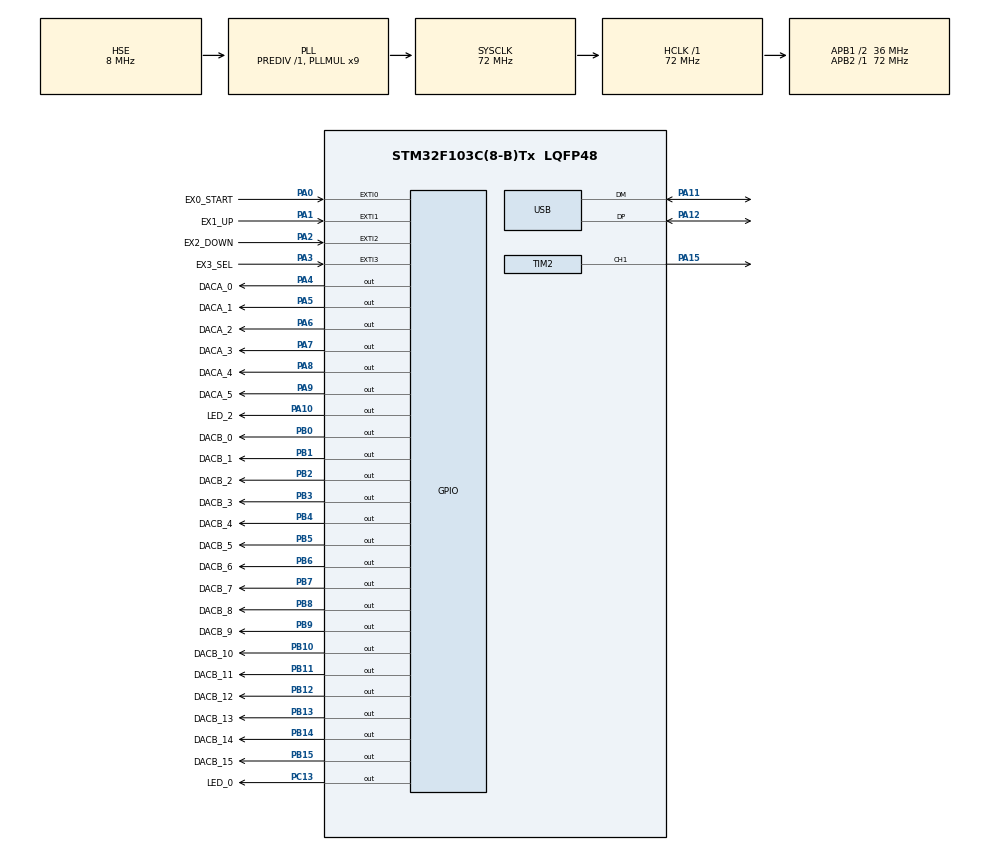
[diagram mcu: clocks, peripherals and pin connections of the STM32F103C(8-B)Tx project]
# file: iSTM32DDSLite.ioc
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Mcu.Family=STM32F1
PA2.GPIO_PuPd=GPIO_PULLDOWN
PB10.PinState=GPIO_PIN_SET
USB_DEVICE.CLASS_NAME_FS=CDC
NVIC.DMA1_Channel5_IRQn=true\:0\:0\:false\:false\:true\:false\:true
PB10.GPIO_Speed=GPIO_SPEED_FREQ_HIGH
USB_DEVICE.PID_CDC_FS=0xDD83
PB14.GPIO_Label=DACB_14
PA3.GPIO_PuPd=GPIO_PULLDOWN
PB2.GPIO_Speed=GPIO_SPEED_FREQ_HIGH
NVIC.EXTI3_IRQn=true\:0\:0\:false\:false\:true\:true\:true
PA11.Mode=Device
PA6.GPIO_Label=DACA_2
PB0.GPIO_Label=DACB_0
PB6.GPIO_Label=DACB_6
Dma.TIM1_UP.0.Mode=DMA_CIRCULAR
PB13.GPIO_Label=DACB_13
PB11.Signal=GPIO_Output
PB13.Signal=GPIO_Output
PB15.Signal=GPIO_Output
PA5.PinState=GPIO_PIN_SET
PB15.PinState=GPIO_PIN_RESET
PB3.GPIO_Speed=GPIO_SPEED_FREQ_HIGH
RCC.SYSCLKSource=RCC_SYSCLKSOURCE_PLLCLK
ProjectManager.StackSize=0x400
PD1-OSC_OUT.Signal=RCC_OSC_OUT
PB11.GPIO_Speed=GPIO_SPEED_FREQ_HIGH
USB_DEVICE.MANUFACTURER_STRING=www.stm32dds.tk
Dma.TIM1_UP.0.MemInc=DMA_MINC_ENABLE
NVIC.EXTI1_IRQn=true\:0\:0\:false\:false\:true\:true\:true
PA12.Signal=USB_DP
PA7.PinState=GPIO_PIN_SET
PB0.PinState=GPIO_PIN_SET
PB3.PinState=GPIO_PIN_SET
RCC.HCLKFreq_Value=72000000
RCC.APB2TimFreq_Value=72000000
PB6.Signal=GPIO_Output
PB5.PinState=GPIO_PIN_SET
PB12.PinState=GPIO_PIN_SET
PA1.GPIO_PuPd=GPIO_PULLDOWN
RCC.AHBFreq_Value=72000000
PB2.Signal=GPIO_Output
RCC.RTCClockSelection=RCC_RTCCLKSOURCE_HSE_DIV128
RCC.PLLMUL=RCC_PLL_MUL9
PB12.GPIO_Label=DACB_12
USB_DEVICE.USBD_SELF_POWERED=0
PC13-TAMPER-RTC.PinState=GPIO_PIN_RESET
PB1.GPIO_Speed=GPIO_SPEED_FREQ_HIGH
PA14.Mode=Serial_Wire
PB1.GPIO_Label=DACB_1
PA10.GPIO_Label=LED_2
PB8.PinState=GPIO_PIN_SET
PB7.Signal=GPIO_Output
PA8.Signal=GPIO_Output
TIM2.Channel-PWM\ Generation1\ CH1=TIM_CHANNEL_1
VP_TIM1_VS_ClockSourceINT.Mode=Internal
PB7.PinState=GPIO_PIN_SET
PB1.PinState=GPIO_PIN_SET
PB7.GPIO_Label=DACB_7
Mcu.Package=LQFP48
PB9.Signal=GPIO_Output
TIM2.Prescaler=9999
PB1.Signal=GPIO_Output
PA6.Signal=GPIO_Output
Dma.TIM1_UP.0.Direction=DMA_MEMORY_TO_PERIPH
PA2.GPIO_Label=EX2_DOWN
PA10.Signal=GPIO_Output
PA15.Signal=S_TIM2_CH1_ETR
PB11.PinState=GPIO_PIN_SET
PB5.GPIO_Speed=GPIO_SPEED_FREQ_HIGH
PB9.GPIO_Speed=GPIO_SPEED_FREQ_HIGH
PB5.GPIO_Label=DACB_5
NVIC.EXTI2_IRQn=true\:0\:0\:false\:false\:true\:true\:true
RCC.APB1TimFreq_Value=72000000
Dma.Request0=TIM1_UP
PB4.PinState=GPIO_PIN_SET
PA4.GPIO_Label=DACA_0
PA1.GPIO_ModeDefaultEXTI=GPIO_MODE_IT_FALLING
PA8.PinState=GPIO_PIN_SET
PB4.Signal=GPIO_Output
USB_DEVICE.USBD_DEBUG_LEVEL=3
PA3.Signal=GPXTI3
PB7.GPIO_Speed=GPIO_SPEED_FREQ_HIGH
PB3.GPIO_Label=DACB_3
RCC.PLLSourceVirtual=RCC_PLLSOURCE_HSE
PD1-OSC_OUT.Mode=HSE-External-Oscillator
PB9.GPIO_Label=DACB_9
USB_DEVICE.VirtualModeFS=Cdc_FS
PA9.GPIO_Label=DACA_5
PB11.GPIO_Label=DACB_11
PC13-TAMPER-RTC.Signal=GPIO_Output
RCC.USBPrescaler=RCC_USBCLKSOURCE_PLL_DIV1_5
PA6.PinState=GPIO_PIN_SET
PD0-OSC_IN.Signal=RCC_OSC_IN
RCC.APB1CLKDivider=RCC_HCLK_DIV2
PA0-WKUP.GPIO_ModeDefaultEXTI=GPIO_MODE_IT_FALLING
PA0-WKUP.GPIO_Label=EX0_START
PA0-WKUP.Signal=GPXTI0
TIM2.Pulse-PWM\ Generation1\ CH1=4000
PA3.GPIO_ModeDefaultEXTI=GPIO_MODE_IT_FALLING
PB0.GPIO_Speed=GPIO_SPEED_FREQ_HIGH
PA13.Signal=SYS_JTMS-SWDIO
Dma.TIM1_UP.0.PeriphDataAlignment=DMA_PDATAALIGN_HALFWORD
PB8.GPIO_Label=DACB_8
PA8.GPIO_Label=DACA_4
PB14.PinState=GPIO_PIN_SET
PA4.PinState=GPIO_PIN_SET
USB_DEVICE.VID=0x1209
ProjectManager.TargetToolchain=STM32CubeIDE
PB14.GPIO_Speed=GPIO_SPEED_FREQ_HIGH
PB10.GPIO_Label=DACB_10
PA10.GPIO_ModeDefaultOutputPP=GPIO_MODE_OUTPUT_OD
VP_USB_DEVICE_VS_USB_DEVICE_CDC_FS.Mode=CDC_FS
PA9.Signal=GPIO_Output
PB13.GPIO_Speed=GPIO_SPEED_FREQ_HIGH
Dma.TIM1_UP.0.Priority=DMA_PRIORITY_VERY_HIGH
RCC.USBFreq_Value=48000000
PA1.Signal=GPXTI1
PB12.GPIO_Speed=GPIO_SPEED_FREQ_HIGH
PD0-OSC_IN.Mode=HSE-External-Oscillator
PB10.Signal=GPIO_Output
PB14.Signal=GPIO_Output
PA5.Signal=GPIO_Output
board=custom
PC13-TAMPER-RTC.GPIO_Label=LED_0
Dma.TIM1_UP.0.Instance=DMA1_Channel5
PB4.GPIO_Speed=GPIO_SPEED_FREQ_HIGH
RCC.APB2Freq_Value=72000000
PB13.PinState=GPIO_PIN_SET
PB4.GPIO_Label=DACB_4
PB15.GPIO_Label=DACB_15
VP_TIM2_VS_ClockSourceINT.Mode=Internal
PB15.GPIO_Speed=GPIO_SPEED_FREQ_HIGH
NVIC.USB_LP_CAN1_RX0_IRQn=true\:0\:0\:false\:false\:true\:false\:true
PA1.GPIO_Label=EX1_UP
TIM2.Period=7199
PA13.Mode=Serial_Wire
Mcu.Name=STM32F103C(8-B)Tx
PB2.PinState=GPIO_PIN_SET
Dma.TIM1_UP.0.PeriphInc=DMA_PINC_DISABLE
PA2.Signal=GPXTI2
PB3.Signal=GPIO_Output
NVIC.EXTI0_IRQn=true\:0\:0\:false\:false\:true\:true\:true
PA4.Signal=GPIO_Output
RCC.SYSCLKFreq_VALUE=72000000
PC13-TAMPER-RTC.GPIO_ModeDefaultOutputPP=GPIO_MODE_OUTPUT_OD
PB5.Signal=GPIO_Output
PA7.GPIO_Label=DACA_3
PA12.Mode=Device
PA5.GPIO_Label=DACA_1
PB6.PinState=GPIO_PIN_SET
PB9.PinState=GPIO_PIN_SET
PA11.Signal=USB_DM
SH.S_TIM2_CH1_ETR.0=TIM2_CH1,PWM Generation1 CH1
USB_DEVICE.APP_TX_DATA_SIZE=1000
PA14.Signal=SYS_JTCK-SWCLK
PB2.GPIO_Label=DACB_2
ProjectManager.HeapSize=0x200
Dma.TIM1_UP.0.MemDataAlignment=DMA_MDATAALIGN_HALFWORD
PA2.GPIO_ModeDefaultEXTI=GPIO_MODE_IT_FALLING
NVIC.PriorityGroup=NVIC_PRIORITYGROUP_4
USB_DEVICE.APP_RX_DATA_SIZE=1000
PB8.Signal=GPIO_Output
PA0-WKUP.GPIO_PuPd=GPIO_PULLDOWN
PB6.GPIO_Speed=GPIO_SPEED_FREQ_HIGH
RCC.APB1Freq_Value=36000000
PB8.GPIO_Speed=GPIO_SPEED_FREQ_HIGH
PB0.Signal=GPIO_Output
USB_DEVICE.VirtualMode=Cdc
PB12.Signal=GPIO_Output
PA3.GPIO_Label=EX3_SEL
PA7.Signal=GPIO_Output

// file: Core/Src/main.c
/* USER CODE BEGIN Header */
/**
  ******************************************************************************
  * @file           : main.c
  * @brief          : Main program body
  ******************************************************************************
  * @attention
  *
  * <h2><center>&copy; Copyright (c) 2020 STMicroelectronics.
  * All rights reserved.</center></h2>
  *
  * This software component is licensed by ST under Ultimate Liberty license
  * SLA0044, the "License"; You may not use this file except in compliance with
  * the License. You may obtain a copy of the License at:
  *                             www.st.com/SLA0044
  *
  ******************************************************************************
  */
/* USER CODE END Header */
#include "main.h"
#include "usb_device.h"

/* USER CODE BEGIN Includes */
#include "usbd_cdc_if.h"
/* USER CODE END Includes */

TIM_HandleTypeDef htim1;
TIM_HandleTypeDef htim2;
DMA_HandleTypeDef hdma_tim1_up;

/* USER CODE BEGIN PV */
//extern uint8_t buffer[];
//extern uint32_t NewDataFromUsb;//0-no new data, <>0 new data, value=New Data lenght
//extern uint8_t UserRxBufferFS[APP_RX_DATA_SIZE]; //Data that comes from USB
extern uint16_t aOutputWave [BUFFER_SIZE];
extern uint8_t retWave;
extern uint8_t aConfig[8];//array for configuration data
uint16_t uFrqSP; // set point for Frequency
uint16_t VppSP; // set point for Amplitude
uint8_t uOffsSP; // set point for Offset
uint8_t uPwmSP=50; // set point for PWM on SQUARE Wave
enum SamplesPerWave  {SPW360, SPW180, SPW90, SPW45, SPW24}; // Samples per wave
enum AmpPower { x2_0, x1_5, x1_0, x0_5 }; // Amplification
enum SamplesPerWave eSPW = SPW360;
enum AmpPower eAmpPow;

/*static const uint16_t aSRC_Const_Buffer[BUFFER_SIZE] =
{
  0x0102, 0x0304, 0x0506, 0x0708, 0x090A, 0x0B0C, 0x0D0E, 0x0F10,
  0x1112, 0x1314, 0x1516, 0x1718, 0x191A, 0x1B1C, 0x1D1E, 0x1F20,
  0x2122, 0x2324, 0x2526, 0x2728, 0x292A, 0x2B2C, 0x2D2E, 0x2F30,
  0x3132, 0x3334, 0x3536, 0x3738, 0x393A, 0x3B3C, 0x3D3E, 0x3F40,
  0x4142, 0x4344, 0x4546, 0x4748, 0x494A, 0x4B4C, 0x4D4E, 0x4F50,
  0x5152, 0x5354, 0x5556, 0x5758, 0x595A, 0x5B5C, 0x5D5E, 0x5F60,
  0x6162, 0x6364, 0x6566, 0x6768, 0x696A, 0x6B6C, 0x6D6E, 0x6F70,
  0x7172, 0x7374, 0x7576, 0x7778, 0x797A, 0x7B7C, 0x7D7E, 0x7F80
};*/
/* USER CODE END PV */

void SystemClock_Config(void);
static void MX_GPIO_Init(void);
static void MX_DMA_Init(void);
static void MX_TIM1_Init(void);
static void MX_TIM2_Init(void);
/* USER CODE BEGIN PFP */
static void TransferComplete(DMA_HandleTypeDef *hdma_tim6_up);
static void TransferError(DMA_HandleTypeDef *hdma_tim6_up);
/* USER CODE END PFP */

int main(void)
{

  /* MCU Configuration--------------------------------------------------------*/

  /* Reset of all peripherals, Initializes the Flash interface and the Systick. */
  HAL_Init();

  /* Configure the system clock */
  SystemClock_Config();

  /* Initialize all configured peripherals */
  MX_GPIO_Init();
  MX_TIM1_Init();
  MX_TIM2_Init();
  MX_DMA_Init();
  MX_USB_DEVICE_Init();
  /* USER CODE BEGIN 2 */
  /*Square wave generation and put it into aOutputWave */
  // as default wave on power up
  for (int i = 0; i < BUFFER_SIZE; ++i)
  {
	  if (i < BUFFER_SIZE/2) aOutputWave[i]=0;
	  else aOutputWave[i]=0xFFFF;
  }
// Hardware LED1 flash, to not use SYS_CLK in future
  HAL_TIM_PWM_Start(&htim2, TIM_CHANNEL_1);
  /* USER CODE END 2 */

  /* Infinite loop */
  /* USER CODE BEGIN WHILE */
  while (1)
  {
	  HAL_GPIO_TogglePin(GPIOC, GPIO_PIN_13);
	  HAL_Delay(500);
	  //  uint8_t HiMsg[] = "hello\r\n";
	    if(retWave==1)
	    {
	    	// b[i] = (a[j] << 8) | a[j + 1];
	        // set point for Frequency
	    	uFrqSP = (aConfig[0] << 8) | aConfig[1];
	        // set point for Amplitude
	    	VppSP = (aConfig[2] << 8) | aConfig[3];
	        // set point for Offset
	    	uOffsSP = aConfig[4];
	        // set point for PWM on SQUARE Wave
	    	uPwmSP = aConfig[5];
	        // Samples per wave
	    	if (eSPW != aConfig[6])
	    	{
	    		uint32_t BufLnght;
	    		HAL_DMA_Abort_IT(htim1.hdma[TIM_DMA_ID_UPDATE]);
	    		eSPW = aConfig[6];
	    		if (eSPW == SPW360) BufLnght = 360;

	    		if (eSPW == SPW180)
	    		{
	    			for(int i =0;i<180; ++i)
	    				aOutputWave[i] = aOutputWave[2*i];
	    			BufLnght = 180;
	    		}

	    		if (eSPW == SPW90)
	    		{
	    			 for(int i =0;i<90; ++i)
	    			    aOutputWave[i] = aOutputWave[4*i];
	    			 BufLnght = 90;
	    		}

	    		if (eSPW == SPW45)
	    		{
	    			 for(int i =0;i<45; ++i)
	    			    aOutputWave[i] = aOutputWave[8*i];
	    			 BufLnght = 45;
	    		}

	    		if (eSPW == SPW24)
	    		{
	    			 for(int i =0;i<24; ++i)
	    			    aOutputWave[i] = aOutputWave[15*i];
	    			 BufLnght = 24;
	    		}

	    		HAL_DMA_Start_IT(htim1.hdma[TIM_DMA_ID_UPDATE],(uint32_t)&aOutputWave,
	    		  		(uint32_t)&GPIOB->ODR, BufLnght);

	    	}
	        // Amplification
	    	eAmpPow = aConfig[7];

	    	TIM1->ARR = uFrqSP;
	    	//htim1.Init.Period = uFrqSP;
//	    	CDC_Transmit_FS(HiMsg, sizeof(HiMsg));
	    	CDC_Transmit_FS((uint8_t*)aOutputWave, 720);
	    	retWave =0;
	    }
    /* USER CODE END WHILE */

    /* USER CODE BEGIN 3 */

	  HAL_Delay(1000);
  }
  /* USER CODE END 3 */
}

void SystemClock_Config(void)
{
  RCC_OscInitTypeDef RCC_OscInitStruct = {0};
  RCC_ClkInitTypeDef RCC_ClkInitStruct = {0};
  RCC_PeriphCLKInitTypeDef PeriphClkInit = {0};

  /** Initializes the RCC Oscillators according to the specified parameters
  * in the RCC_OscInitTypeDef structure.
  */
  RCC_OscInitStruct.OscillatorType = RCC_OSCILLATORTYPE_HSE;
  RCC_OscInitStruct.HSEState = RCC_HSE_ON;
  RCC_OscInitStruct.HSEPredivValue = RCC_HSE_PREDIV_DIV1;
  RCC_OscInitStruct.HSIState = RCC_HSI_ON;
  RCC_OscInitStruct.PLL.PLLState = RCC_PLL_ON;
  RCC_OscInitStruct.PLL.PLLSource = RCC_PLLSOURCE_HSE;
  RCC_OscInitStruct.PLL.PLLMUL = RCC_PLL_MUL9;
  if (HAL_RCC_OscConfig(&RCC_OscInitStruct) != HAL_OK)
  {
    Error_Handler();
  }
  /** Initializes the CPU, AHB and APB buses clocks
  */
  RCC_ClkInitStruct.ClockType = RCC_CLOCKTYPE_HCLK|RCC_CLOCKTYPE_SYSCLK
                              |RCC_CLOCKTYPE_PCLK1|RCC_CLOCKTYPE_PCLK2;
  RCC_ClkInitStruct.SYSCLKSource = RCC_SYSCLKSOURCE_PLLCLK;
  RCC_ClkInitStruct.AHBCLKDivider = RCC_SYSCLK_DIV1;
  RCC_ClkInitStruct.APB1CLKDivider = RCC_HCLK_DIV2;
  RCC_ClkInitStruct.APB2CLKDivider = RCC_HCLK_DIV1;

  if (HAL_RCC_ClockConfig(&RCC_ClkInitStruct, FLASH_LATENCY_2) != HAL_OK)
  {
    Error_Handler();
  }
  PeriphClkInit.PeriphClockSelection = RCC_PERIPHCLK_USB;
  PeriphClkInit.UsbClockSelection = RCC_USBCLKSOURCE_PLL_DIV1_5;
  if (HAL_RCCEx_PeriphCLKConfig(&PeriphClkInit) != HAL_OK)
  {
    Error_Handler();
  }
}

static void MX_TIM1_Init(void)
{

  TIM_ClockConfigTypeDef sClockSourceConfig = {0};
  TIM_MasterConfigTypeDef sMasterConfig = {0};

  /* USER CODE BEGIN TIM1_Init 1 */
	__HAL_RCC_TIM1_CLK_ENABLE();
  /* USER CODE END TIM1_Init 1 */
  htim1.Instance = TIM1;
  htim1.Init.Prescaler = 0; // 1000;
  htim1.Init.CounterMode = TIM_COUNTERMODE_UP;
  htim1.Init.Period = 100; //7-65535;
  htim1.Init.ClockDivision = TIM_CLOCKDIVISION_DIV1;
  htim1.Init.RepetitionCounter = 0;
  htim1.Init.AutoReloadPreload = TIM_AUTORELOAD_PRELOAD_DISABLE;
  if (HAL_TIM_Base_Init(&htim1) != HAL_OK)
  {
    Error_Handler();
  }
  sClockSourceConfig.ClockSource = TIM_CLOCKSOURCE_INTERNAL;
  if (HAL_TIM_ConfigClockSource(&htim1, &sClockSourceConfig) != HAL_OK)
  {
    Error_Handler();
  }
  sMasterConfig.MasterOutputTrigger = TIM_TRGO_RESET;
  sMasterConfig.MasterSlaveMode = TIM_MASTERSLAVEMODE_DISABLE;
  if (HAL_TIMEx_MasterConfigSynchronization(&htim1, &sMasterConfig) != HAL_OK)
  {
    Error_Handler();
  }

}

static void MX_TIM2_Init(void)
{

  TIM_ClockConfigTypeDef sClockSourceConfig = {0};
  TIM_MasterConfigTypeDef sMasterConfig = {0};
  TIM_OC_InitTypeDef sConfigOC = {0};

  htim2.Instance = TIM2;
  htim2.Init.Prescaler = 9999;
  htim2.Init.CounterMode = TIM_COUNTERMODE_UP;
  htim2.Init.Period = 3600;//7199;
  htim2.Init.ClockDivision = TIM_CLOCKDIVISION_DIV1;
  htim2.Init.AutoReloadPreload = TIM_AUTORELOAD_PRELOAD_DISABLE;
  if (HAL_TIM_Base_Init(&htim2) != HAL_OK)
  {
    Error_Handler();
  }
  sClockSourceConfig.ClockSource = TIM_CLOCKSOURCE_INTERNAL;
  if (HAL_TIM_ConfigClockSource(&htim2, &sClockSourceConfig) != HAL_OK)
  {
    Error_Handler();
  }
  if (HAL_TIM_PWM_Init(&htim2) != HAL_OK)
  {
    Error_Handler();
  }
  sMasterConfig.MasterOutputTrigger = TIM_TRGO_RESET;
  sMasterConfig.MasterSlaveMode = TIM_MASTERSLAVEMODE_DISABLE;
  if (HAL_TIMEx_MasterConfigSynchronization(&htim2, &sMasterConfig) != HAL_OK)
  {
    Error_Handler();
  }
  sConfigOC.OCMode = TIM_OCMODE_PWM1;
  sConfigOC.Pulse =1800;// 4000;
  sConfigOC.OCPolarity = TIM_OCPOLARITY_HIGH;
  sConfigOC.OCFastMode = TIM_OCFAST_DISABLE;
  if (HAL_TIM_PWM_ConfigChannel(&htim2, &sConfigOC, TIM_CHANNEL_1) != HAL_OK)
  {
    Error_Handler();
  }
  HAL_TIM_MspPostInit(&htim2);

}

static void MX_DMA_Init(void)
{

  /* DMA controller clock enable */
  __HAL_RCC_DMA1_CLK_ENABLE();
  /* DMA configuration */
  hdma_tim1_up.Instance = DMA1_Channel5;
  hdma_tim1_up.Init.Direction = DMA_MEMORY_TO_PERIPH;
  hdma_tim1_up.Init.PeriphInc = DMA_PINC_DISABLE;
  hdma_tim1_up.Init.MemInc = DMA_MINC_ENABLE;
  hdma_tim1_up.Init.PeriphDataAlignment = DMA_PDATAALIGN_HALFWORD; // 16 bits
  hdma_tim1_up.Init.MemDataAlignment = DMA_MDATAALIGN_HALFWORD;
  hdma_tim1_up.Init.Mode = DMA_CIRCULAR;//DMA_NORMAL;
  hdma_tim1_up.Init.Priority = DMA_PRIORITY_LOW;
  HAL_DMA_Init(&hdma_tim1_up);
//  __HAL_DMA1_REMAP(HAL_DMA1_CH3_TIM6_UP);
  __HAL_LINKDMA(&htim1,hdma[TIM_DMA_ID_UPDATE],hdma_tim1_up);
  /* DMA interrupt init */
  /* DMA1_Channel5_IRQn interrupt configuration */
  HAL_NVIC_SetPriority(DMA1_Channel5_IRQn, 0, 0);
  HAL_NVIC_EnableIRQ(DMA1_Channel5_IRQn);
  /* Select Callbacks functions called after Transfer complete and Transfer error */
  HAL_DMA_RegisterCallback(&hdma_tim1_up, HAL_DMA_XFER_CPLT_CB_ID, TransferComplete);
  HAL_DMA_RegisterCallback(&hdma_tim1_up, HAL_DMA_XFER_ERROR_CB_ID, TransferError);
  /* (Callbacks for DMA IRQs) */
//  htim1->hdma[TIM_DMA_ID_UPDATE]->XferCpltCallback = data_tramsmitted_handler;
//  htim1->hdma[TIM_DMA_ID_UPDATE]->XferErrorCallback = transmit_error_handler;
  /*  (Enable DMA) */
  HAL_DMA_Start_IT(htim1.hdma[TIM_DMA_ID_UPDATE],(uint32_t)&aOutputWave,
  		(uint32_t)&GPIOB->ODR, BUFFER_SIZE);
  /*  (Enable TIM for DMA events) */
  __HAL_TIM_ENABLE_DMA(&htim1, TIM_DMA_UPDATE);

  /*  (Run TIM) */
  __HAL_TIM_ENABLE(&htim1);
  __HAL_RCC_TIM1_CLK_DISABLE();//stop clocking interrupt timer
}

static void MX_GPIO_Init(void)
{
  GPIO_InitTypeDef GPIO_InitStruct = {0};

  /* GPIO Ports Clock Enable */
  __HAL_RCC_GPIOC_CLK_ENABLE();
  __HAL_RCC_GPIOD_CLK_ENABLE();
  __HAL_RCC_GPIOA_CLK_ENABLE();
  __HAL_RCC_GPIOB_CLK_ENABLE();

  /*Configure GPIO pin Output Level */
  HAL_GPIO_WritePin(LED_0_GPIO_Port, LED_0_Pin, GPIO_PIN_RESET);

  /*Configure GPIO pin Output Level */
  HAL_GPIO_WritePin(GPIOA, DACA_0_Pin|DACA_1_Pin|DACA_2_Pin|DACA_3_Pin
                          |DACA_4_Pin, GPIO_PIN_SET);

  /*Configure GPIO pin Output Level */
  HAL_GPIO_WritePin(GPIOB, DACB_0_Pin|DACB_1_Pin|DACB_2_Pin|DACB_10_Pin
                          |DACB_11_Pin|DACB_12_Pin|DACB_13_Pin|DACB_14_Pin
                          |DACB_3_Pin|DACB_4_Pin|DACB_5_Pin|DACB_6_Pin
                          |DACB_7_Pin|DACB_8_Pin|DACB_9_Pin, GPIO_PIN_SET);

  /*Configure GPIO pin Output Level */
  HAL_GPIO_WritePin(DACB_15_GPIO_Port, DACB_15_Pin, GPIO_PIN_RESET);

  /*Configure GPIO pin Output Level */
  HAL_GPIO_WritePin(GPIOA, DACA_5_Pin|LED_2_Pin, GPIO_PIN_RESET);

  /*Configure GPIO pin : LED_0_Pin */
  GPIO_InitStruct.Pin = LED_0_Pin;
  GPIO_InitStruct.Mode = GPIO_MODE_OUTPUT_OD;
  GPIO_InitStruct.Pull = GPIO_NOPULL;
  GPIO_InitStruct.Speed = GPIO_SPEED_FREQ_LOW;
  HAL_GPIO_Init(LED_0_GPIO_Port, &GPIO_InitStruct);

  /*Configure GPIO pins : EX0_START_Pin EX1_UP_Pin EX2_DOWN_Pin EX3_SEL_Pin */
  GPIO_InitStruct.Pin = EX0_START_Pin|EX1_UP_Pin|EX2_DOWN_Pin|EX3_SEL_Pin;
  GPIO_InitStruct.Mode = GPIO_MODE_IT_FALLING;
  GPIO_InitStruct.Pull = GPIO_PULLDOWN;
  HAL_GPIO_Init(GPIOA, &GPIO_InitStruct);

  /*Configure GPIO pins : DACA_0_Pin DACA_1_Pin DACA_2_Pin DACA_3_Pin
                           DACA_4_Pin DACA_5_Pin */
  GPIO_InitStruct.Pin = DACA_0_Pin|DACA_1_Pin|DACA_2_Pin|DACA_3_Pin
                          |DACA_4_Pin|DACA_5_Pin;
  GPIO_InitStruct.Mode = GPIO_MODE_OUTPUT_PP;
  GPIO_InitStruct.Pull = GPIO_NOPULL;
  GPIO_InitStruct.Speed = GPIO_SPEED_FREQ_LOW;
  HAL_GPIO_Init(GPIOA, &GPIO_InitStruct);

  /*Configure GPIO pins : DACB_0_Pin DACB_1_Pin DACB_2_Pin DACB_10_Pin
                           DACB_11_Pin DACB_12_Pin DACB_13_Pin DACB_14_Pin
                           DACB_15_Pin DACB_3_Pin DACB_4_Pin DACB_5_Pin
                           DACB_6_Pin DACB_7_Pin DACB_8_Pin DACB_9_Pin */
  GPIO_InitStruct.Pin = DACB_0_Pin|DACB_1_Pin|DACB_2_Pin|DACB_10_Pin
                          |DACB_11_Pin|DACB_12_Pin|DACB_13_Pin|DACB_14_Pin
                          |DACB_15_Pin|DACB_3_Pin|DACB_4_Pin|DACB_5_Pin
                          |DACB_6_Pin|DACB_7_Pin|DACB_8_Pin|DACB_9_Pin;
  GPIO_InitStruct.Mode = GPIO_MODE_OUTPUT_PP;
  GPIO_InitStruct.Pull = GPIO_NOPULL;
  GPIO_InitStruct.Speed = GPIO_SPEED_FREQ_HIGH;
  HAL_GPIO_Init(GPIOB, &GPIO_InitStruct);

  /*Configure GPIO pin : LED_2_Pin */
  GPIO_InitStruct.Pin = LED_2_Pin;
  GPIO_InitStruct.Mode = GPIO_MODE_OUTPUT_OD;
  GPIO_InitStruct.Pull = GPIO_NOPULL;
  GPIO_InitStruct.Speed = GPIO_SPEED_FREQ_LOW;
  HAL_GPIO_Init(LED_2_GPIO_Port, &GPIO_InitStruct);

  /* EXTI interrupt init*/
  HAL_NVIC_SetPriority(EXTI0_IRQn, 0, 0);
  HAL_NVIC_EnableIRQ(EXTI0_IRQn);

  HAL_NVIC_SetPriority(EXTI1_IRQn, 0, 0);
  HAL_NVIC_EnableIRQ(EXTI1_IRQn);

  HAL_NVIC_SetPriority(EXTI2_IRQn, 0, 0);
  HAL_NVIC_EnableIRQ(EXTI2_IRQn);

  HAL_NVIC_SetPriority(EXTI3_IRQn, 0, 0);
  HAL_NVIC_EnableIRQ(EXTI3_IRQn);

}

/* USER CODE BEGIN 4 */
/*  (DMA IRQ callbacks) */
void TransferComplete(DMA_HandleTypeDef *hdma)
{
    /* Stop timer */
    __HAL_TIM_DISABLE(&htim1);
    /* Reconfigure DMA */
    HAL_DMA_Start_IT(htim1.hdma[TIM_DMA_ID_UPDATE],(uint32_t)&aOutputWave,
    		(uint32_t)&GPIOB->ODR, BUFFER_SIZE);
    /* Start timer for new data transmit */
    __HAL_TIM_ENABLE(&htim1);
}

void TransferError(DMA_HandleTypeDef *hdma)
{
    /* Stop timer */
    __HAL_TIM_DISABLE(&htim1);
    /* !!! Some error handle for future implementation */
}

/* USER CODE END 4 */

void Error_Handler(void)
{
  __disable_irq();
  while (1)
  {
  }
}

/************************ (C) COPYRIGHT STMicroelectronics *****END OF FILE****/
